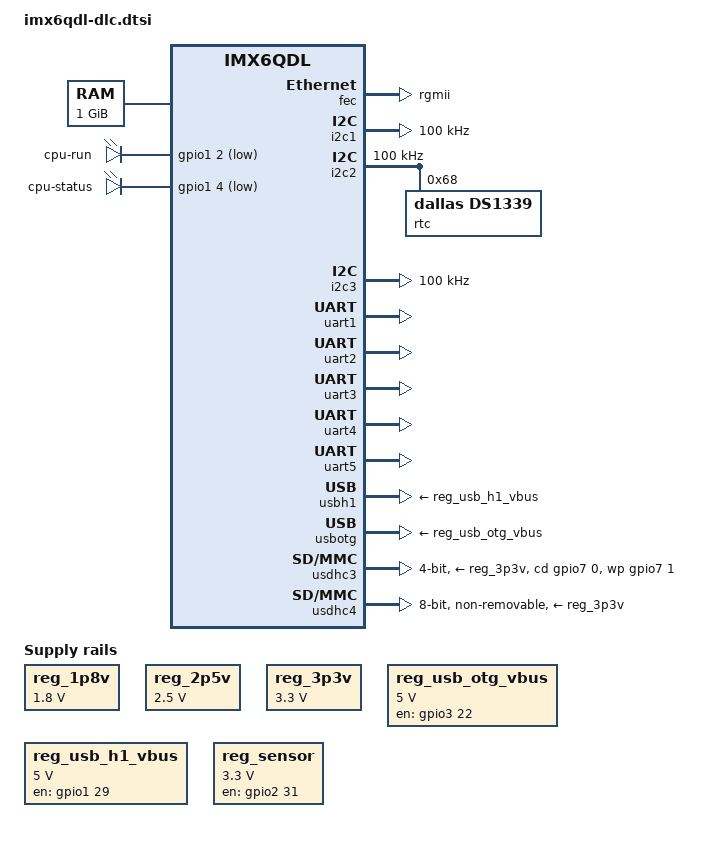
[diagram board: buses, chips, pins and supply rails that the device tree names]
/*
 * Copyright 2012 Freescale Semiconductor, Inc.
 * Copyright 2011 Linaro Ltd.
 *
 * The code contained herein is licensed under the GNU General Public
 * License. You may obtain a copy of the GNU General Public License
 * Version 2 or later at the following locations:
 *
 * http://www.opensource.org/licenses/gpl-license.html
 * http://www.gnu.org/copyleft/gpl.html
 */

/ {
	memory {
		reg = <0x10000000 0x40000000>;
	};

	leds {
		compatible = "gpio-leds";

		cpu-run {
			label = "cpu-run";
			gpios = <&gpio1 2 1>; 
			linux,default-trigger = "timer";
			retain-state-suspended;
			status = "okay";
		};
		cpu-status {
			label = "cpu-status";
			gpios = <&gpio1 4 1>; 
			linux,default-trigger = "none";
			retain-state-suspended;
		};
	};

	regulators {
		compatible = "simple-bus";

		reg_1p8v: 1p8v {
			compatible = "regulator-fixed";
			regulator-name = "1P8V";
			regulator-min-microvolt = <1800000>;
			regulator-max-microvolt = <1800000>;
			regulator-always-on;
		};

		reg_2p5v: 2p5v {
			compatible = "regulator-fixed";
			regulator-name = "2P5V";
			regulator-min-microvolt = <2500000>;
			regulator-max-microvolt = <2500000>;
			regulator-always-on;
		};

		reg_3p3v: 3p3v {
			compatible = "regulator-fixed";
			regulator-name = "3P3V";
			regulator-min-microvolt = <3300000>;
			regulator-max-microvolt = <3300000>;
			regulator-always-on;
		};

		reg_usb_otg_vbus: usb_otg_vbus {
			compatible = "regulator-fixed";
			regulator-name = "usb_otg_vbus";
			regulator-min-microvolt = <5000000>;
			regulator-max-microvolt = <5000000>;
			gpio = <&gpio3 22 0>;
			enable-active-high;
		};

		reg_usb_h1_vbus: usb_h1_vbus {
			compatible = "regulator-fixed";
			regulator-name = "usb_h1_vbus";
			regulator-min-microvolt = <5000000>;
			regulator-max-microvolt = <5000000>;
			gpio = <&gpio1 29 0>;
			enable-active-high;
		};

		reg_sensor: sensor_supply {
			compatible = "regulator-fixed";
			regulator-name = "sensor-supply";
			regulator-min-microvolt = <3300000>;
			regulator-max-microvolt = <3300000>;
			gpio = <&gpio2 31 0>;
			startup-delay-us = <500>;
			enable-active-high;
		};
	};

	v4l2_cap_0 {
		compatible = "fsl,imx6q-v4l2-capture";
		ipu_id = <0>;
		csi_id = <0>;
		mclk_source = <0>;
		status = "disabled";
	};

	v4l2_cap_1 {
		compatible = "fsl,imx6q-v4l2-capture";
		ipu_id = <0>;
		csi_id = <1>;
		mclk_source = <0>;
		status = "disabled";
	};

	v4l2_out {
		compatible = "fsl,mxc_v4l2_output";
		status = "disabled";
	};
};

&fec {
	pinctrl-names = "default";
	pinctrl-0 = <&pinctrl_enet_1>;
	phy-mode = "rgmii";
	status = "okay";
};

&i2c1 {
	clock-frequency = <100000>;
	pinctrl-names = "default";
	pinctrl-0 = <&pinctrl_i2c1_2>;
	status = "okay";
};

&i2c2 {
	clock-frequency = <100000>;
	pinctrl-names = "default";
	pinctrl-0 = <&pinctrl_i2c2_2>;
	status = "okay";

	rtc: ds1339@68 {
        compatible = "dallas,ds1339";
        reg = <0x68>;
    };

};

&i2c3 {
    clock-frequency = <100000>;
    pinctrl-names = "default";
    pinctrl-0 = <&pinctrl_i2c3_5>;
    status = "okay";

};

&iomuxc {
	pinctrl-names = "default";
	pinctrl-0 = <&pinctrl_hog_1>;

	hog {
		pinctrl_hog_1: hoggrp-1 {
			fsl,pins = <
				MX6QDL_PAD_SD3_DAT5__GPIO7_IO00 	0x80000000  /* SD3 CD */
				MX6QDL_PAD_SD3_DAT4__GPIO7_IO01 	0x80000000  /* SD3 WP */
                MX6QDL_PAD_GPIO_2__GPIO1_IO02 		0x80000000  /* CPU_RUN    LED 1 */
                MX6QDL_PAD_GPIO_4__GPIO1_IO04 		0x80000000  /* CPU_ERROR  LED 2 */
			   	MX6QDL_PAD_GPIO_0__CCM_CLKO1   		0x130b0		/* Sound */
				MX6QDL_PAD_CSI0_DAT4__GPIO5_IO22	0x80000000	/* LTE Reset */
				MX6QDL_PAD_CSI0_DAT5__GPIO5_IO23	0x80000000	/* LAN9514 Reset */
				MX6QDL_PAD_CSI0_DAT6__GPIO5_IO24	0x80000000	/* LTE LED0 Input */
				MX6QDL_PAD_CSI0_DAT7__GPIO5_IO25	0x80000000	/* LTE LED1 Input */
				MX6QDL_PAD_NANDF_CS1__GPIO6_IO14	0x80000000	/* LTE AP WAKE */
				MX6QDL_PAD_NANDF_D2__GPIO2_IO02		0x80000000	/* Relay Output 0 */
				MX6QDL_PAD_NANDF_D3__GPIO2_IO03		0x80000000	/* Relay Output 1 */
				MX6QDL_PAD_NANDF_CLE__GPIO6_IO07   	0x80000000  /* Extern GPIO */
				MX6QDL_PAD_NANDF_ALE__GPIO6_IO08	0x80000000	/* EXtern GPIO */
				MX6QDL_PAD_NANDF_WP_B__GPIO6_IO09	0x80000000	/* Extern GPIO */ 
				MX6QDL_PAD_NANDF_RB0__GPIO6_IO10	0x80000000	/* Extern GPIO */
				MX6QDL_PAD_NANDF_CS0__GPIO6_IO11	0x80000000	/* Extern GPIO */
			>;
		};
	};
};

&pcie {
	status = "disabled";
};

&uart1 {
	pinctrl-names = "default";
	pinctrl-0 = <&pinctrl_uart1_1>;
	status = "okay";
};

&uart2 {
	pinctrl-names = "default";
	pinctrl-0 = <&pinctrl_uart2_1>;
	status = "okay";
};

&uart3 {
	pinctrl-names = "default";
	pinctrl-0 = <&pinctrl_uart3_3>;
	status = "okay";
};

&uart4 {
	pinctrl-names = "default";
	pinctrl-0 = <&pinctrl_uart4_1>;
	status = "okay";
};

&uart5 {
	pinctrl-names = "default";
	pinctrl-0 = <&pinctrl_uart5_2>;
	status = "okay";
};

&usbh1 {
	vbus-supply = <&reg_usb_h1_vbus>;
	status = "okay";
};

&usbotg {
	vbus-supply = <&reg_usb_otg_vbus>;
	pinctrl-names = "default";
	pinctrl-0 = <&pinctrl_usbotg_2>;
	disable-over-current;
	status = "okay";
};

&usdhc3 {
	pinctrl-names = "default", "state_100mhz", "state_200mhz";
	pinctrl-0 = <&pinctrl_usdhc3_2>;
	pinctrl-1 = <&pinctrl_usdhc3_2_100mhz>;
	pinctrl-2 = <&pinctrl_usdhc3_2_200mhz>;
    bus-width = <4>;
	cd-gpios = <&gpio7 0 0>;
	wp-gpios = <&gpio7 1 0>;
	vmmc-supply = <&reg_3p3v>;
	status = "okay";
};

&usdhc4 {
    pinctrl-names = "default";
    pinctrl-0 = <&pinctrl_usdhc4_1>;
    bus-width = <8>;
    non-removable;
	vmmc-supply = <&reg_3p3v>;
	keep-power-in-suspend;
    status = "okay";
};


